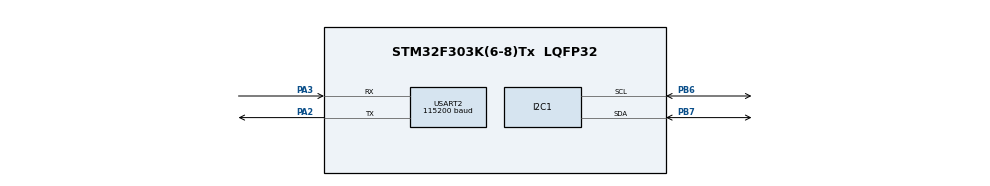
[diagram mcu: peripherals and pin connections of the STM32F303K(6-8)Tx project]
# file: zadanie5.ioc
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I2C1.Timing=0x00201D2B
Mcu.Family=STM32F3
Mcu.Name=STM32F303K(6-8)Tx
Mcu.Package=LQFP32
NVIC.I2C1_EV_IRQn=true\:0\:0\:false\:false\:true\:true\:true\:true
NVIC.PriorityGroup=NVIC_PRIORITYGROUP_4
PA2.Mode=Asynchronous
PA2.Signal=USART2_TX
PA3.Mode=Asynchronous
PA3.Signal=USART2_RX
PB6.GPIO_Pu=GPIO_PULLUP
PB6.Mode=I2C
PB6.Signal=I2C1_SCL
PB7.GPIO_Pu=GPIO_PULLUP
PB7.Mode=I2C
PB7.Signal=I2C1_SDA
ProjectManager.HeapSize=0x200
ProjectManager.StackSize=0x400
ProjectManager.TargetToolchain=STM32CubeIDE
RCC.AHBFreq_Value=8000000
RCC.APB1Freq_Value=8000000
RCC.APB2Freq_Value=8000000
RCC.CortexFreq_Value=8000000
RCC.HSE_VALUE=8000000
RCC.HSI_VALUE=8000000
RCC.SYSCLKFreq_VALUE=8000000
USART2.BaudRate=115200
USART2.VirtualMode-Asynchronous=VM_ASYNC
board=custom

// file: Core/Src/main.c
/* USER CODE BEGIN Header */
/**
  ******************************************************************************
  * @file           : main.c
  * @brief          : Main program body
  ******************************************************************************
  * @attention
  *
  * Copyright (c) 2026 STMicroelectronics.
  * All rights reserved.
  *
  * This software is licensed under terms that can be found in the LICENSE file
  * in the root directory of this software component.
  * If no LICENSE file comes with this software, it is provided AS-IS.
  *
  ******************************************************************************
  */
/* USER CODE END Header */
#include "main.h"
#include "i2c.h"
#include "usart.h"
#include "gpio.h"

/* USER CODE BEGIN Includes */
#include "hts221.h"
#include "lps22hb.h"
#include <stdio.h>
/* USER CODE END Includes */

void SystemClock_Config(void);

int main(void)
{

  /* USER CODE BEGIN 1 */
	void usart2_send_string(const char *str)
	{
		while(*str)
		{
			while(!LL_USART_IsActiveFlag_TXE(USART2));
			LL_USART_TransmitData8(USART2, *str++);
		}
	}
  /* USER CODE END 1 */

  /* MCU Configuration--------------------------------------------------------*/

  /* Reset of all peripherals, Initializes the Flash interface and the Systick. */
  LL_APB2_GRP1_EnableClock(LL_APB2_GRP1_PERIPH_SYSCFG);
  LL_APB1_GRP1_EnableClock(LL_APB1_GRP1_PERIPH_PWR);

  /* System interrupt init*/
  NVIC_SetPriorityGrouping(NVIC_PRIORITYGROUP_4);

  /* SysTick_IRQn interrupt configuration */
  NVIC_SetPriority(SysTick_IRQn, NVIC_EncodePriority(NVIC_GetPriorityGrouping(),15, 0));

  /* Configure the system clock */
  SystemClock_Config();

  /* Initialize all configured peripherals */
  MX_GPIO_Init();
  MX_I2C1_Init();
  MX_USART2_UART_Init();
  /* USER CODE BEGIN 2 */
  uint8_t hts_ok = hts221_init(i2c_master_read, i2c_master_write);
  // LPS22HB -> 0xB1
  uint8_t lps_ok = lps22hb_init(i2c_master_read, i2c_master_write);
  float p0 = lps22hb_get_pressure();
  LL_mDelay(200);

  /* USER CODE END 2 */

  /* Infinite loop */
  /* USER CODE BEGIN WHILE */
  while (1)
  {
	  usart2_send_string("hello VRS :)\r\n");
	  float t   = hts221_get_temperature();
	  float h   = hts221_get_humidity();
	  float p   = lps22hb_get_pressure();
	  float alt = lps22hb_get_altitude(p, p0);

	  char buf[64];
	  sprintf(buf, "%04.1f,%02d,%07.2f,%05.2f\r\n", t, (int)(h + 0.5f), p, alt);
	  usart2_send_string(buf);

	  LL_mDelay(200);
    /* USER CODE END WHILE */

  }
}

void SystemClock_Config(void)
{
  LL_FLASH_SetLatency(LL_FLASH_LATENCY_0);
  while(LL_FLASH_GetLatency()!= LL_FLASH_LATENCY_0)
  {
  }
  LL_RCC_HSI_Enable();

   /* Wait till HSI is ready */
  while(LL_RCC_HSI_IsReady() != 1)
  {

  }
  LL_RCC_HSI_SetCalibTrimming(16);
  LL_RCC_SetAHBPrescaler(LL_RCC_SYSCLK_DIV_1);
  LL_RCC_SetAPB1Prescaler(LL_RCC_APB1_DIV_1);
  LL_RCC_SetAPB2Prescaler(LL_RCC_APB2_DIV_1);
  LL_RCC_SetSysClkSource(LL_RCC_SYS_CLKSOURCE_HSI);

   /* Wait till System clock is ready */
  while(LL_RCC_GetSysClkSource() != LL_RCC_SYS_CLKSOURCE_STATUS_HSI)
  {

  }
  LL_Init1msTick(8000000);
  LL_SetSystemCoreClock(8000000);
  LL_RCC_SetI2CClockSource(LL_RCC_I2C1_CLKSOURCE_HSI);
}

void Error_Handler(void)
{
  __disable_irq();
  while (1)
  {
  }
}
